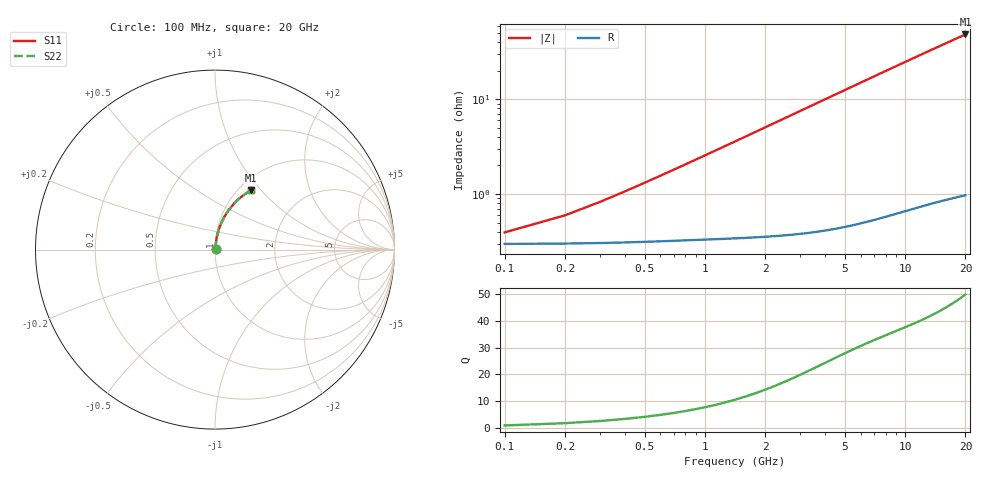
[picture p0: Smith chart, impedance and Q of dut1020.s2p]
! Touchstone file exported from HFSS 2026.1.0
!  File:  C:/ffzhzh/LocalFiles/Ansys_Project_Files/temp_train_BSMRDL_1020_1783173428_55132.aedt
!  Generated:  09:58:23 PM Jul  4, 2026
!  Design:  BSMRDL
!  Project:  temp_train_BSMRDL_1020_1783173428_55132
! Variables:
!  h_bsmrdl = 3.6um
!  h_ox = 20um
!  h_rdl = 5um
!  h_sub = 80um
!  h_tmrdl = 5um
!  h_tsv = 80um
!  h_via = 3um
!  l_bsmrdl = 316.71um
!  l_sub = 716.71um
!  l_tmrdl = 200um
!  m_sub = 200um
!  pitch = 57.29um
!  r_tsv = 6um
!  s_tmrdl = 10um
!  w_bsmrdl = 10.88um
!  w_sub = 500um
!  w_tmrdl = 12um
!  x_tsv_center1 = 206um
!  x_tsv_center2 = 533.59um
!  x_tsv_center3 = 745.59um
!  x_tsv_center4 = 1073.18um
!  x_tsv_center5 = 1285.18um
!  x_tsv_center6 = 1612.77um
# GHz S MA R 50.000000
! Terminal data exported
! Port[1] = BSM_RDL1_1_T1
! Port[2] = BSM_RDL1_1_T2
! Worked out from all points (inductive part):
!   200 points, 100 MHz to 20 GHz, reference 50 ohm
!   read as one part in series: L = 405 pH near 400 MHz
!   highest Q = 49.8 at 20 GHz (marker M1), where L = 384 pH
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0.1  0.003722 37.1  0.997 -0.2  0.997 -0.2  0.003722 37.1
! Gamma 0 0 0 0
! Port Impedance 50 0 50 0
0.2  0.005402 56.1  0.997 -0.3  0.997 -0.3  0.005402 56.1
0.3  0.007382 65.3  0.997 -0.5  0.997 -0.5  0.007382 65.3
0.4  0.009464 70.4  0.9969 -0.7  0.9969 -0.7  0.009464 70.4
0.5  0.01159 73.6  0.9968 -0.8  0.9968 -0.8  0.01159 73.6
0.6  0.01373 75.7  0.9968 -1.0  0.9968 -1.0  0.01373 75.7
0.8  0.01803 78.4  0.9966 -1.3  0.9966 -1.3  0.01803 78.4
1.1  0.02451 80.4  0.9964 -1.8  0.9964 -1.8  0.02451 80.4
1.5  0.03317 81.7  0.9961 -2.4  0.9961 -2.4  0.03317 81.7
1.8  0.03968 82.1  0.9957 -2.9  0.9957 -2.9  0.03968 82.1
2.1  0.04619 82.2  0.9954 -3.4  0.9954 -3.4  0.04619 82.2
2.7  0.05918 82.1  0.9946 -4.3  0.9946 -4.3  0.05918 82.1
3.5  0.07642 81.4  0.9932 -5.6  0.9932 -5.6  0.07642 81.4
4.2  0.09142 80.7  0.9917 -6.7  0.9917 -6.7  0.09142 80.7
5  0.1084 79.6  0.9897 -8.0  0.9897 -8.0  0.1084 79.6
5.9  0.1273 78.4  0.9871 -9.4  0.9871 -9.4  0.1273 78.4
6.8  0.146 77.2  0.9841 -10.8  0.9841 -10.8  0.146 77.2
8.3  0.1765 75.0  0.9786 -13.1  0.9786 -13.1  0.1765 75.0
10.1  0.2122 72.4  0.9708 -15.9  0.9708 -15.9  0.2122 72.4
13.4  0.2743 67.7  0.9542 -20.7  0.9542 -20.7  0.2743 67.7
16.7  0.3321 63.2  0.935 -25.4  0.935 -25.4  0.3321 63.2
20  0.3852 58.8  0.914 -29.9  0.914 -29.9  0.3852 58.8
